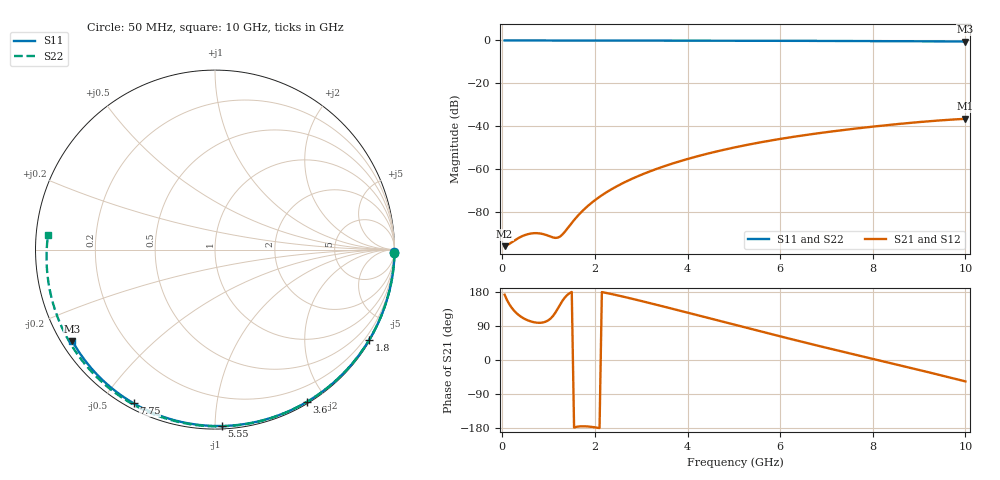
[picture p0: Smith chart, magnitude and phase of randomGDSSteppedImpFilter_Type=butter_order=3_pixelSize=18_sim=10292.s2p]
! freq	dB(S11)	phase(S11)	dB(S12)	phase(S12)
!  dB(S21)	phase(S21)	dB(S22)	phase(S22)
!S-par simulation data
#  GHz  S  DB  R 50
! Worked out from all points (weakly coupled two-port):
!   200 points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, 50 MHz to 10 GHz, reference 50 ohm
!   highest |S21| = -36.53 dB at 10 GHz (marker M1); lowest = -95.9 dB at 50 MHz (marker M2)
!   lowest |S11| = -0.5 dB at 10 GHz (marker M3), VSWR 34.91, Z = 1.56 - j14.7 ohm
!   |S11| at or under -10 dB: nowhere
!   |S22| runs from -0.6 to 0.0 dB; largest |S21 - S12| = 0
!   S11 on the Smith chart (normalised r, x): 50 MHz: open; 1.8 GHz: 0.03, -3.70; 3.6 GHz: 0.02, -1.77; 5.55 GHz: 0.02, -1.04; 7.75 GHz: 0.02, -0.60; 10 GHz: 0.03, -0.29
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0.05  -0.00 -0.9  -95.90 172.3  -95.90 172.3  -0.00 -1.0
0.45  -0.01 -7.7  -91.05 110.7  -91.05 110.7  -0.01 -9.4
0.85  -0.01 -14.4  -90.10 98.5  -90.10 98.5  -0.02 -17.6
1.25  -0.03 -21.1  -91.37 146.6  -91.37 146.6  -0.03 -25.8
1.7  -0.04 -28.6  -80.14 -175.0  -80.14 -175.0  -0.04 -34.9
1.75  -0.04 -29.4  -79.07 -174.9  -79.07 -174.9  -0.05 -35.9
1.8  -0.04 -30.3  -78.06 -175.1  -78.06 -175.1  -0.05 -36.9
2.1  -0.05 -35.2  -72.90 -179.6  -72.90 -179.6  -0.05 -42.8
2.45  -0.05 -40.9  -68.25 171.7  -68.25 171.7  -0.06 -49.7
2.9  -0.06 -48.1  -63.54 158.7  -63.54 158.7  -0.08 -58.4
3.4  -0.07 -55.9  -59.36 143.6  -59.36 143.6  -0.09 -67.9
3.6  -0.08 -59.0  -57.90 137.4  -57.90 137.4  -0.10 -71.6
4.3  -0.10 -69.6  -53.50 115.6  -53.50 115.6  -0.12 -84.5
5.05  -0.12 -80.7  -49.71 92.0  -49.71 92.0  -0.15 -97.8
5.55  -0.14 -87.9  -47.59 76.4  -47.59 76.4  -0.17 -106.5
6.1  -0.17 -95.6  -45.56 59.3  -45.56 59.3  -0.21 -116.0
6.7  -0.20 -103.8  -43.62 41.1  -43.62 41.1  -0.25 -126.2
7.25  -0.24 -111.2  -42.06 24.8  -42.06 24.8  -0.29 -135.5
7.75  -0.27 -117.9  -40.78 10.2  -40.78 10.2  -0.33 -144.1
8.35  -0.32 -125.7  -39.38 -7.2  -39.38 -7.2  -0.39 -154.5
9.2  -0.41 -136.8  -37.69 -32.2  -37.69 -32.2  -0.49 -169.7
10  -0.50 -147.2  -36.53 -56.4  -36.53 -56.4  -0.59 175.0
